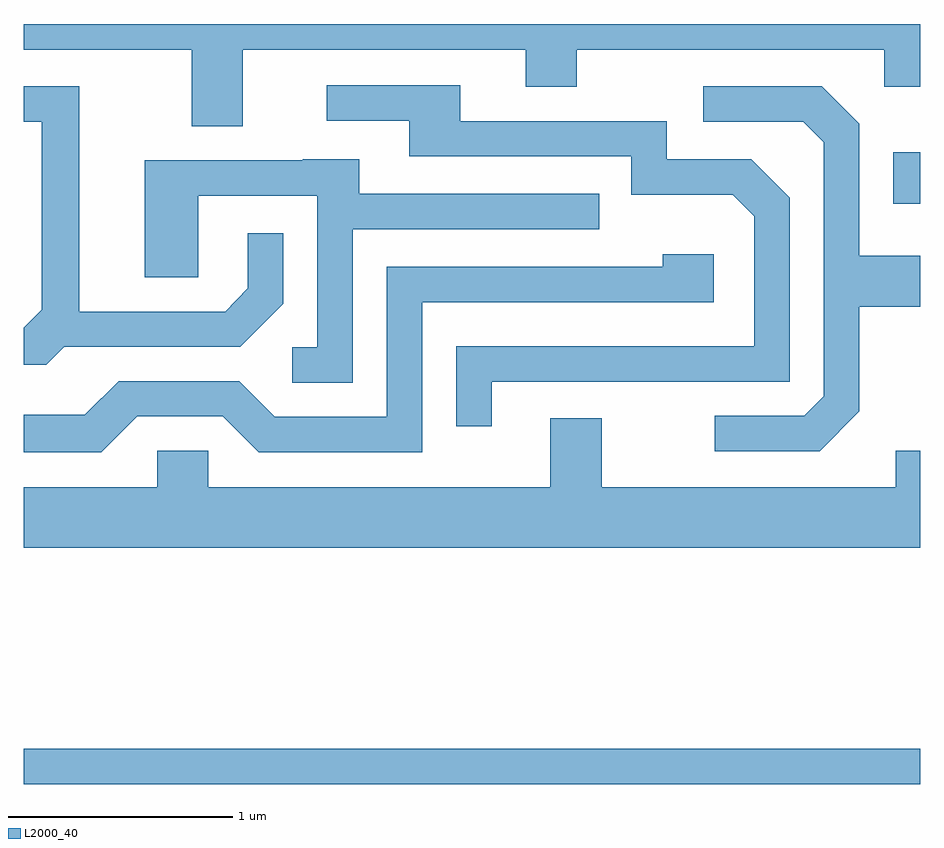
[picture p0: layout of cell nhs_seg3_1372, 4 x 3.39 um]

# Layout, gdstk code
import gdstk
lib = gdstk.Library(unit=1e-6, precision=1e-09)
def R(c, l, rs):  # rectangles x0, y0, x1, y1
    for r in rs: c.add(gdstk.rectangle(r[:2], r[2:], *l))
def P(c, l, *ps):  # polygons
    for p in ps: c.add(gdstk.Polygon(p, *l))
L2000_40 = (2000, 40)

nhs_seg3_1372 = lib.new_cell('nhs_seg3_1372')
R(nhs_seg3_1372, L2000_40, [(225.611,1140.501,229.611,1140.659), (229.491,1143.091,229.611,1143.319)])
P(nhs_seg3_1372, L2000_40, [(226.589,1143.776),(227.851,1143.776),(227.851,1143.611),(228.079,1143.611),(228.079,1143.776),(229.451,1143.776),(229.451,1143.611),(229.611,1143.611),(229.611,1143.892),(225.611,1143.892),(225.611,1143.776),(226.361,1143.776),(226.361,1143.436),(226.589,1143.436)],
  [(227.699,1142.296),(229.029,1142.296),(229.029,1143.117),(228.857,1143.289),(228.479,1143.289),(228.479,1143.459),(227.559,1143.459),(227.559,1143.619),(226.963,1143.619),(226.963,1143.461),(227.331,1143.461),(227.331,1143.301),(228.321,1143.301),(228.321,1143.131),(228.774,1143.131),(228.871,1143.034),(228.871,1142.454),(227.541,1142.454),(227.541,1142.098),(227.699,1142.098)],
  [(229.339,1142.164),(229.339,1142.631),(229.611,1142.631),(229.611,1142.859),(229.339,1142.859),(229.339,1143.447),(229.172,1143.614),(228.643,1143.614),(228.643,1143.456),(229.089,1143.456),(229.181,1143.364),(229.181,1142.232),(229.094,1142.144),(228.693,1142.144),(228.693,1141.986),(229.162,1141.986)],
  [(225.792,1142.451),(226.577,1142.451),(226.769,1142.644),(226.769,1142.958),(226.611,1142.958),(226.611,1142.712),(226.509,1142.609),(225.859,1142.609),(225.859,1143.614),(225.611,1143.614),(225.611,1143.456),(225.691,1143.456),(225.691,1142.617),(225.611,1142.536),(225.611,1142.371),(225.712,1142.371)],
  [(227.079,1142.976),(228.178,1142.976),(228.178,1143.134),(227.109,1143.134),(227.109,1143.289),(226.855,1143.289),(226.855,1143.284),(226.151,1143.284),(226.151,1142.761),(226.389,1142.761),(226.389,1143.126),(226.921,1143.126),(226.921,1142.449),(226.808,1142.449),(226.808,1142.291),(227.079,1142.291)],
  [(226.117,1142.141),(226.499,1142.141),(226.659,1141.981),(227.389,1141.981),(227.389,1142.651),(228.689,1142.651),(228.689,1142.864),(228.461,1142.864),(228.461,1142.809),(227.231,1142.809),(227.231,1142.139),(226.732,1142.139),(226.572,1142.299),(226.034,1142.299),(225.884,1142.149),(225.611,1142.149),(225.611,1141.981),(225.957,1141.981)],
  [(229.611,1141.989),(229.501,1141.989),(229.501,1141.824),(228.189,1141.824),(228.189,1142.134),(227.961,1142.134),(227.961,1141.824),(226.434,1141.824),(226.434,1141.989),(226.206,1141.989),(226.206,1141.824),(225.611,1141.824),(225.611,1141.556),(229.611,1141.556)])

lib.write_gds('nhs_seg3_1372.gds')
